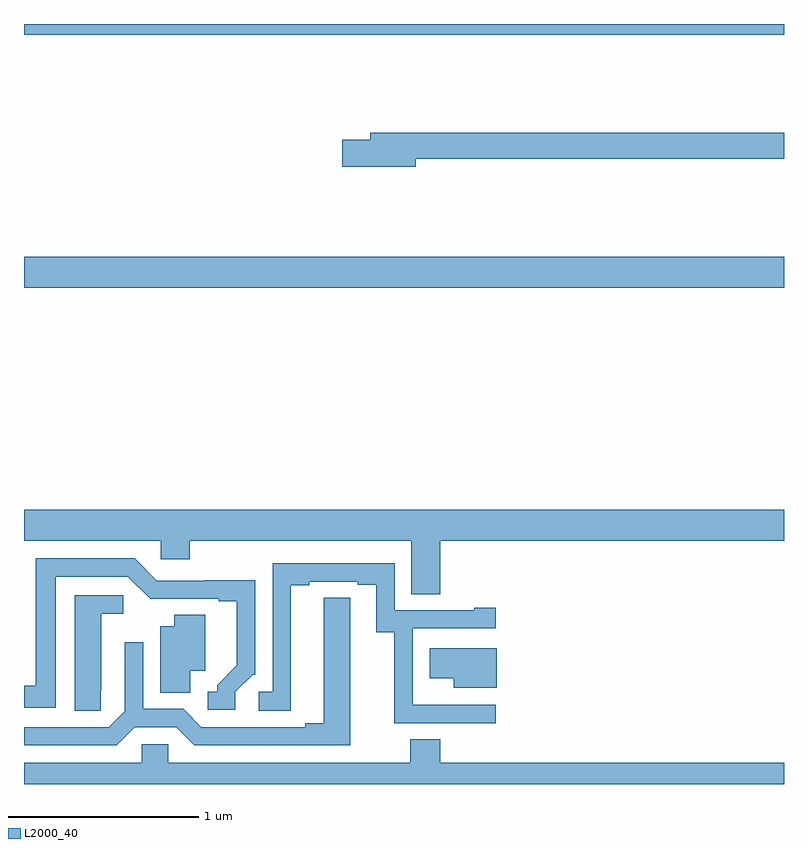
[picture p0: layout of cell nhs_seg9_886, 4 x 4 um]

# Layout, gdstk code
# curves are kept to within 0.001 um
import gdstk
lib = gdstk.Library(unit=1e-6, precision=1e-09)
def R(c, l, rs):  # rectangles x0, y0, x1, y1
    for r in rs: c.add(gdstk.rectangle(r[:2], r[2:], *l))
def P(c, l, *ps):  # polygons
    for p in ps: c.add(gdstk.Polygon(p, *l))
L2000_40 = (2000, 40)

nhs_seg9_886 = lib.new_cell('nhs_seg9_886')
R(nhs_seg9_886, L2000_40, [(159,1171.112,163,1171.276), (159,1172.444,163,1172.5)])
P(nhs_seg9_886, L2000_40, [(161.062,1171.792),(163,1171.792),(163,1171.928),(160.823,1171.928),(160.823,1171.892),(160.674,1171.892),(160.674,1171.75),(161.062,1171.75)],
  [(161.192,1169.78),(163,1169.78),(163,1169.944),(159,1169.944),(159,1169.78),(159.72,1169.78),(159.72,1169.682),(159.872,1169.682),(159.872,1169.78),(161.039,1169.78),(161.039,1169.5),(161.192,1169.5)],
  [(160.113,1168.986),(160.203,1169.076),(160.218,1169.076),(160.218,1169.573),(159.955,1169.573),(159.955,1169.571),(159.699,1169.571),(159.582,1169.688),(159.062,1169.688),(159.062,1169.018),(159,1169.018),(159,1168.902),(159.166,1168.902),(159.166,1169.592),(159.546,1169.592),(159.664,1169.474),(160.025,1169.475),(160.025,1169.463),(160.121,1169.463),(160.121,1169.126),(160.016,1169.021),(160.016,1168.986),(159.966,1168.986),(159.966,1168.89),(160.113,1168.89)],
  [(161.482,1168.917),(161.048,1168.917),(161.048,1168.918),(161.046,1168.918),(161.046,1169.319),(161.482,1169.319),(161.482,1169.428),(161.369,1169.428),(161.369,1169.415),(160.95,1169.415),(160.95,1169.661),(160.308,1169.661),(160.308,1168.986),(160.236,1168.986),(160.236,1168.885),(160.405,1168.885),(160.405,1169.545),(160.501,1169.545),(160.501,1169.565),(160.757,1169.565),(160.757,1169.55),(160.853,1169.55),(160.853,1169.299),(160.948,1169.299),(160.948,1168.821),(161.482,1168.821)],
  [(159.405,1168.993),(159.406,1168.993),(159.406,1169.396),(159.523,1169.396),(159.523,1169.493),(159.266,1169.493),(159.266,1168.885),(159.405,1168.885)],
  [(159.583,1168.8),(159.801,1168.8),(159.897,1168.704),(160.717,1168.704),(160.716,1169.48),(160.577,1169.48),(160.577,1168.82),(160.481,1168.82),(160.481,1168.8),(159.933,1168.8),(159.837,1168.896),(159.627,1168.896),(159.627,1169.245),(159.531,1169.245),(159.531,1168.884),(159.447,1168.8),(159,1168.8),(159,1168.704),(159.487,1168.704)],
  [(159.874,1169.096),(159.955,1169.096),(159.955,1169.39),(159.791,1169.39),(159.791,1169.329),(159.716,1169.329),(159.716,1168.981),(159.874,1168.981)],
  [(161.488,1169.215),(161.136,1169.215),(161.136,1169.057),(161.261,1169.057),(161.261,1169.006),(161.488,1169.006)],
  [(163,1168.612),(161.192,1168.612),(161.192,1168.736),(161.032,1168.736),(161.032,1168.612),(159.759,1168.612),(159.759,1168.71),(159.621,1168.71),(159.621,1168.612),(159,1168.612),(159,1168.5),(163,1168.5)])

lib.write_gds('nhs_seg9_886.gds')
